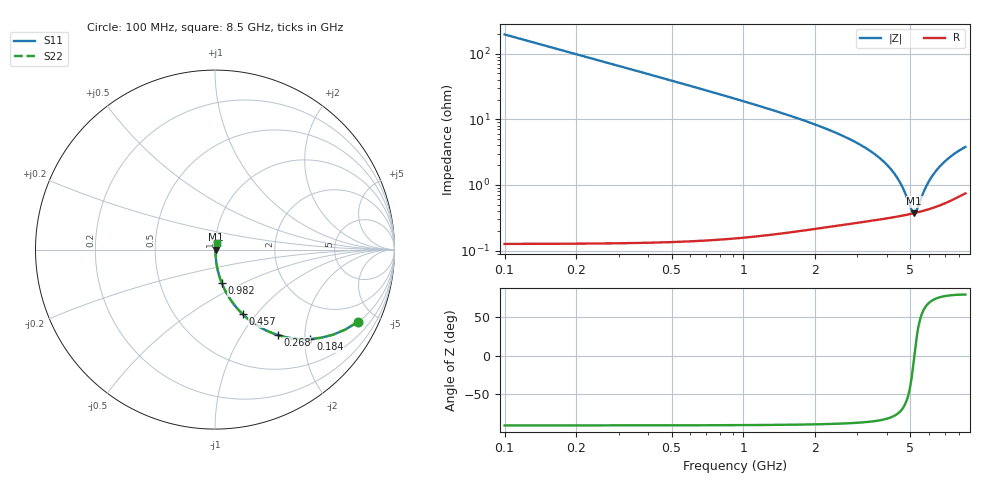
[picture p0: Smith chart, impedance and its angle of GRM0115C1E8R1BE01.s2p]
!Murata Part Number: GRM0115C1E8R1BE01
!These Parameters are Measured in Series Mode Connection
!Data Generated on Mar 30, 2021
!  o--ll--o
!Port1  Port2
!  o------o
!Operation Temp=25[degC], DC Bias Voltage=0[V]
!Freq. Start=100[MHz] Stop=9[GHz] 401[Steps]
# Hz S RI R 50
!Freq.(Hz) S11(Real) S11(Imag) S21(Real) S21(Imag) S12(Real) S12(Imag) S22(Real) S22(Imag)
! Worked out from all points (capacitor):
!   401 points, 100 MHz to 8.5 GHz, reference 50 ohm
!   read as one part in series: C = 8.1 pF near 142 MHz
!   lowest |Z| = 372 mohm at 5.182 GHz (marker M1)
!   series resonance near 5.197 GHz, so ESL is about 120 pH
!   S11 on the Smith chart (normalised r, x): 100 MHz: 1.00, -3.93; 184 MHz: 1.00, -2.13; 268 MHz: 1.00, -1.46; 457 MHz: 1.00, -0.85; 982 MHz: 1.00, -0.38; 8.5 GHz: 1.01, +0.07
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1e8  0.794 -0.4041  0.206 0.4041  0.206 0.4041  0.794 -0.4041
1.42e8  0.6564 -0.4744  0.3436 0.4744  0.3436 0.4744  0.6564 -0.4744
1.84e8  0.5321 -0.4984  0.4679 0.4984  0.4679 0.4984  0.5321 -0.4984
2.68e8  0.3485 -0.4756  0.6515 0.4756  0.6515 0.4756  0.3485 -0.4756
3.52e8  0.2363 -0.4236  0.7637 0.4236  0.7637 0.4236  0.2363 -0.4236
4.57e8  0.1546 -0.36  0.8454 0.36  0.8454 0.36  0.1546 -0.36
6.67e8  0.0784 -0.2663  0.9216 0.2663  0.9216 0.2663  0.0784 -0.2663
9.82e8  0.0371 -0.185  0.9629 0.185  0.9629 0.185  0.0371 -0.185
1.507e9  0.0157 -0.1168  0.9843 0.1168  0.9843 0.1168  0.0157 -0.1168
2.914e9  0.00467 -0.0455  0.9953 0.0455  0.9953 0.0455  0.00467 -0.0455
3.733e9  0.0036 -0.0251  0.9964 0.0251  0.9964 0.0251  0.0036 -0.0251
4.3e9  0.00343 -0.0142  0.9966 0.0142  0.9966 0.0142  0.00343 -0.0142
4.657e9  0.00347 -0.00818  0.9965 0.00818  0.9965 0.00818  0.00347 -0.00818
5.056e9  0.00363 -0.00205  0.9964 0.00205  0.9964 0.00205  0.00363 -0.00205
5.182e9  0.0037 -0.000218  0.9963 0.000218  0.9963 0.000218  0.0037 -0.000218
5.308e9  0.00378 0.00157  0.9962 -0.00157  0.9962 -0.00157  0.00378 0.00157
5.707e9  0.00409 0.00696  0.9959 -0.00696  0.9959 -0.00696  0.00409 0.00696
5.98e9  0.00436 0.0104  0.9956 -0.0104  0.9956 -0.0104  0.00436 0.0104
6.295e9  0.00472 0.0143  0.9953 -0.0143  0.9953 -0.0143  0.00472 0.0143
7.114e9  0.00593 0.0235  0.9941 -0.0235  0.9941 -0.0235  0.00593 0.0235
7.765e9  0.00716 0.03  0.9928 -0.03  0.9928 -0.03  0.00716 0.03
8.5e9  0.00873 0.0366  0.9913 -0.0366  0.9913 -0.0366  0.00873 0.0366
